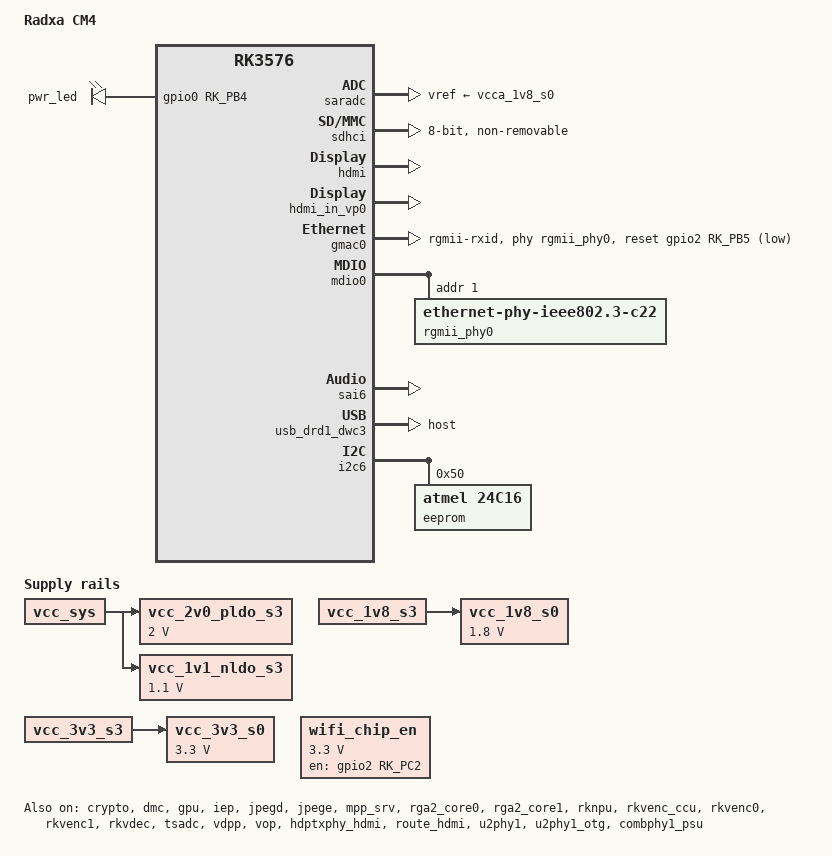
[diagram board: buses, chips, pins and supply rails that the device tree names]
// SPDX-License-Identifier: (GPL-2.0+ OR MIT)
/*
 * Copyright (c) 2024 Rockchip Electronics Co., Ltd.
 * Copyright (c) 2024 Radxa Computer (Shenzhen) Co., Ltd.
 *
 */

#include <dt-bindings/usb/pd.h>
#include <dt-bindings/gpio/gpio.h>
#include <dt-bindings/pwm/pwm.h>
#include <dt-bindings/pinctrl/rockchip.h>
#include <dt-bindings/input/rk-input.h>
#include <dt-bindings/display/drm_mipi_dsi.h>
#include <dt-bindings/display/rockchip_vop.h>
#include <dt-bindings/sensor-dev.h>
#include "rk3576.dtsi"
#include "rk3576-linux.dtsi"
#include "rk3576-rk806.dtsi"

/ {
	model = "Radxa CM4";
	compatible = "radxa,cm4", "rockchip,rk3576";

	vcc_2v0_pldo_s3: vcc-2v0-pldo-s3 {
		compatible = "regulator-fixed";
		regulator-name = "vcc_2v0_pldo_s3";
		regulator-boot-on;
		regulator-always-on;
		regulator-min-microvolt = <2000000>;
		regulator-max-microvolt = <2000000>;
		vin-supply = <&vcc_sys>;
	};

	vcc_1v1_nldo_s3: vcc-1v1-nldo-s3 {
		compatible = "regulator-fixed";
		regulator-name = "vcc_1v1_nldo_s3";
		regulator-boot-on;
		regulator-always-on;
		regulator-min-microvolt = <1100000>;
		regulator-max-microvolt = <1100000>;
		vin-supply = <&vcc_sys>;
	};

	vcc_1v8_s0: vcc-1v8-s0 {
		compatible = "regulator-fixed";
		regulator-name = "vcc_1v8_s0";
		regulator-boot-on;
		regulator-always-on;
		regulator-min-microvolt = <1800000>;
		regulator-max-microvolt = <1800000>;
		vin-supply = <&vcc_1v8_s3>;
	};

	vcc_3v3_s0: vcc-3v3-s0 {
		compatible = "regulator-fixed";
		regulator-name = "vcc_3v3_s0";
		regulator-boot-on;
		regulator-always-on;
		regulator-min-microvolt = <3300000>;
		regulator-max-microvolt = <3300000>;
		vin-supply = <&vcc_3v3_s3>;
	};

	hdmi_sound: hdmi-sound {
		compatible = "rockchip,hdmi";
		rockchip,mclk-fs = <128>;
		rockchip,card-name = "rockchip-hdmi0";
		rockchip,cpu = <&sai6>;
		rockchip,codec = <&hdmi>;
		rockchip,jack-det;
	};

	wifi_chip_en: wifi-chip-en {
		compatible = "regulator-fixed";
		regulator-name = "wifi_chip_en";
		regulator-min-microvolt = <3300000>;
		regulator-max-microvolt = <3300000>;
		enable-active-high;
		regulator-boot-on;
		regulator-always-on;
		gpio = <&gpio2 RK_PC2 GPIO_ACTIVE_HIGH>;
		pinctrl-names = "default";
		pinctrl-0 = <&wifi_chip_en_gpio>;
	};

	leds: leds {
		compatible = "gpio-leds";
		pwr_led: pwr-led {
			gpios = <&gpio0 RK_PB4 GPIO_ACTIVE_HIGH>;
			linux,default-trigger = "heartbeat";
		};
	};
};

&cpu_l0 {
	cpu-supply = <&vdd_cpu_lit_s0>;
};

&cpu_b0 {
	cpu-supply = <&vdd_cpu_big_s0>;
};

&crypto {
	status = "okay";
};

&dmc {
	status = "okay";
};

&gpu {
	mali-supply = <&vdd_gpu_s0>;
	status = "okay";
};

&iep {
	status = "okay";
};

&iep_mmu {
	status = "okay";
};

&jpegd {
	status = "okay";
};

&jpege {
	status = "okay";
};

&jpeg_mmu {
	status = "okay";
};

&mpp_srv {
	status = "okay";
};

&rga2_core0 {
	status = "okay";
};

&rga2_core0_mmu {
	status = "okay";
};

&rga2_core1 {
	status = "okay";
};

&rga2_core1_mmu {
	status = "okay";
};

&rknpu {
	rknpu-supply = <&vdd_npu_s0>;
	status = "okay";
};

&rknpu_mmu {
	status = "okay";
};

&rkvenc_ccu {
	status = "okay";
};

&rkvenc0 {
	status = "okay";
};

&rkvenc0_mmu {
	status = "okay";
};

&rkvenc1 {
	status = "okay";
};

&rkvenc1_mmu {
	status = "okay";

};

&rkvdec {
	status = "okay";
};

&rkvdec_mmu {
	status = "okay";
};

&rockchip_suspend {
	status = "okay";
	rockchip,sleep-debug-en = <1>;

	rockchip,sleep-io-ret-config = <
		(0
		| RKPM_VCCIO3_RET_EN
		)
	>;

	rockchip,regulator-on-before-mem = <&vdd_npu_s0>;
};

&vdd_logic_s0 {
	regulator-state-mem {
		regulator-on-in-suspend;
	};
};

&vcca_1v8_s0 {
	regulator-state-mem {
		regulator-on-in-suspend;
	};
};

&saradc {
	status = "okay";
	vref-supply = <&vcca_1v8_s0>;
};

&tsadc {
	status = "okay";
};

&sdhci {
	bus-width = <8>;
	no-sdio;
	no-sd;
	non-removable;
	max-frequency = <200000000>;
	mmc-hs400-1_8v;
	mmc-hs400-enhanced-strobe;
	full-pwr-cycle-in-suspend;
	status = "okay";
};

&vdpp {
	status = "okay";
};

&vop {
	status = "okay";
	vop-supply = <&vdd_logic_s0>;
};

&vop_mmu {
	status = "okay";
};

&vp2 {
	assigned-clocks = <&cru DCLK_VP2_SRC>;
	assigned-clock-parents = <&cru PLL_VPLL>;
};

&display_subsystem {
	clocks = <&hdptxphy_hdmi>;
	clock-names = "hdmi0_phy_pll";
};

&hdmi {
	status = "okay";
	enable-gpios = <&gpio2 RK_PB0 GPIO_ACTIVE_HIGH>;
	cec-enable = "true";
};

&hdmi_in_vp0 {
	status = "okay";
};

&hdptxphy_hdmi {
	status = "okay";
};

&route_hdmi {
	status = "okay";
	connect = <&vp0_out_hdmi>;
};

&vp0 {
	rockchip,plane-mask = <(1 << ROCKCHIP_VOP2_CLUSTER0 | 1 << ROCKCHIP_VOP2_ESMART0)>;
	rockchip,primary-plane = <ROCKCHIP_VOP2_CLUSTER0>;
	cursor-win-id = <ROCKCHIP_VOP2_ESMART0>;
};

&vp1 {
	rockchip,plane-mask = <(1 << ROCKCHIP_VOP2_CLUSTER1 | 1 << ROCKCHIP_VOP2_ESMART1)>;
	rockchip,primary-plane = <ROCKCHIP_VOP2_CLUSTER1>;
	cursor-win-id = <ROCKCHIP_VOP2_ESMART1>;
};

&vp2 {
	rockchip,plane-mask = <(1 << ROCKCHIP_VOP2_ESMART2 | 1 << ROCKCHIP_VOP2_ESMART3)>;
	rockchip,primary-plane = <ROCKCHIP_VOP2_ESMART2>;
	cursor-win-id = <ROCKCHIP_VOP2_ESMART3>;
};

&gmac0 {
	/* Use rgmii-rxid mode to disable rx delay inside Soc */
	phy-mode = "rgmii-rxid";
	clock_in_out = "output";

	snps,reset-gpio = <&gpio2 RK_PB5 GPIO_ACTIVE_LOW>;
	snps,reset-active-low;
	/* Reset time is 20ms, 100ms for rtl8211f */
	snps,reset-delays-us = <0 20000 100000>;

	pinctrl-names = "default";
	pinctrl-0 = <&eth0m0_miim
		     &eth0m0_tx_bus2
		     &eth0m0_rx_bus2
		     &eth0m0_rgmii_clk
		     &eth0m0_rgmii_bus
		     &ethm0_clk0_25m_out>;

	tx_delay = <0x21>;
	/* rx_delay = <0x3f>; */

	phy-handle = <&rgmii_phy0>;
	status = "okay";
};

&mdio0 {
	rgmii_phy0: phy@1 {
		compatible = "ethernet-phy-ieee802.3-c22";
		reg = <0x1>;
		clocks = <&cru REFCLKO25M_GMAC0_OUT>;
	};
};

&sai6 {
	status = "okay";
};

&u2phy1 {
	status = "okay";
};

&u2phy1_otg {
	phy-supply = <&vcc_3v3_s0>;
	status = "okay";
};

&usb_drd1_dwc3 {
	dr_mode = "host";
	status = "okay";
};

&combphy1_psu {
	status = "okay";
};

&i2c6 {
	status = "okay";
	pinctrl-names = "default";
	pinctrl-0 = <&i2c6m3_xfer>;

	eeprom:	at24c16@50 {
		status = "okay";
		compatible = "atmel,24c16";
		reg = <0x50>;
		pagesize = <16>;
	};
};

&pinctrl {
	wifi {
		wifi_chip_en_gpio: wifi-chip-en-gpio {
			rockchip,pins = <2 RK_PC2 RK_FUNC_GPIO &pcfg_pull_up>;
		};
	};
};
